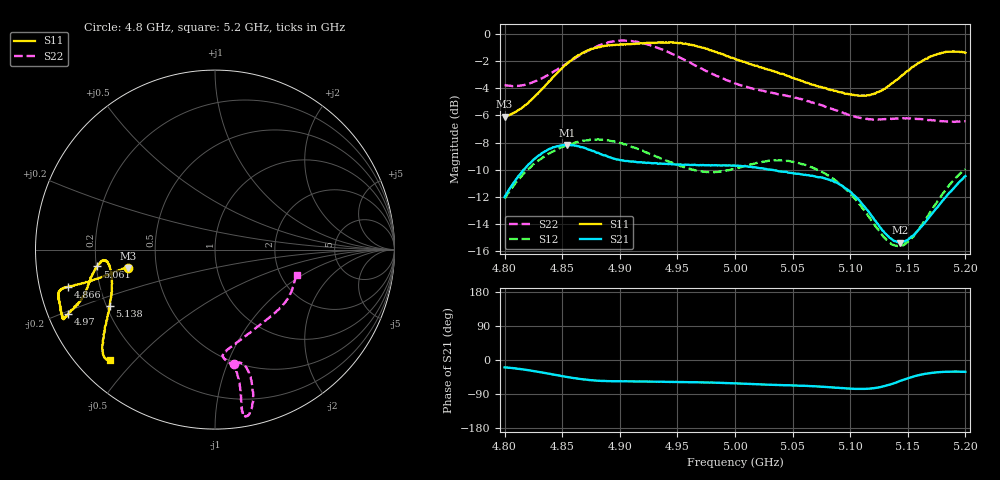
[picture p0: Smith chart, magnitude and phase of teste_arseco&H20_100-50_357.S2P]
! Network Analyzer HP8722D
! Hewlett-Packard
! Data name: Linha & Wilkinson
! Saver's name: Rodrigo Anjos
! Comments: Teste da utilização de aquisição
! continua pelo VNA HP8722D
! Time and date: 6/5/2025 15:32
!  Frequency  S11  S21  S12  S22
# HZ  S  MA R 50
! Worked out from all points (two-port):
!   401 points, 4.8 GHz to 5.2 GHz, reference 50 ohm
!   highest |S21| = -8.17 dB at 4.854 GHz (marker M1); lowest = -15.3 dB at 5.143 GHz (marker M2)
!   |S21| within 3 dB of the highest: 4.806 GHz to 5.093 GHz (286.7 MHz wide, 5.79 % of centre); 5.191768 GHz to end of sweep
!   lowest |S11| = -6.1 dB at 4.8 GHz (marker M3), VSWR 2.97, Z = 17 - j4.61 ohm
!   |S11| at or under -10 dB: nowhere
!   |S22| runs from -6.5 to -0.5 dB; largest |S21 - S12| = 0.62
!   S11 on the Smith chart (normalised r, x): 4.8 GHz: 0.34, -0.09; 4.866 GHz: 0.09, -0.12; 4.97 GHz: 0.06, -0.21; 5.061 GHz: 0.20, -0.07; 5.138 GHz: 0.21, -0.24; 5.2 GHz: 0.09, -0.43
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4.8e9  0.4963 -168.1  0.2514 -19.4  0.2478 -140.7  0.6479 -80.4
4.827e9  0.593 -167.0  0.35 -29.9  0.3361 -144.5  0.6708 -75.4
4.854e9  0.7761 -165.7  0.3906 -44.8  0.3894 -149.7  0.7782 -74.7
4.866e9  0.8421 -165.8  0.383 -50.2  0.4022 -151.7  0.8375 -75.3
4.867e9  0.8462 -165.8  0.3834 -50.7  0.4033 -151.9  0.8426 -75.3
4.883e9  0.8947 -165.0  0.3618 -54.9  0.4081 -154.6  0.9099 -77.1
4.901e9  0.9164 -162.3  0.3431 -56.1  0.3963 -156.6  0.9456 -79.2
4.934e9  0.9307 -156.3  0.3333 -57.4  0.3509 -155.6  0.8836 -80.4
4.97e9  0.8929 -156.3  0.3294 -59.1  0.3127 -146.9  0.7481 -79.6
5e9  0.8094 -158.9  0.328 -61.8  0.3194 -137.2  0.6573 -81.2
5.036e9  0.7232 -165.5  0.3142 -65.8  0.3421 -134.3  0.6022 -85.5
5.061e9  0.6633 -171.8  0.3033 -68.3  0.3299 -136.1  0.5708 -83.9
5.067e9  0.6505 -172.9  0.3012 -69.1  0.3232 -136.7  0.5594 -82.7
5.083e9  0.6211 -174.4  0.2888 -72.1  0.2975 -138.1  0.5323 -76.9
5.101e9  0.5988 -172.2  0.261 -75.6  0.2558 -138.7  0.5005 -66.5
5.116e9  0.5954 -165.4  0.2218 -75.9  0.2132 -135.5  0.485 -55.8
5.134e9  0.6469 -154.3  0.1783 -65.2  0.171 -120.8  0.4874 -43.4
5.138e9  0.666 -151.8  0.1733 -61.3  0.1671 -115.6  0.4872 -40.8
5.143e9  0.6912 -149.2  0.1708 -55.8  0.1657 -109.0  0.4891 -38.0
5.154e9  0.7565 -144.3  0.1803 -44.4  0.1786 -94.9  0.4875 -32.4
5.172e9  0.8333 -138.9  0.2205 -33.6  0.2296 -81.1  0.4811 -24.5
5.2e9  0.8519 -133.6  0.2997 -31.2  0.3185 -76.9  0.4773 -17.5
